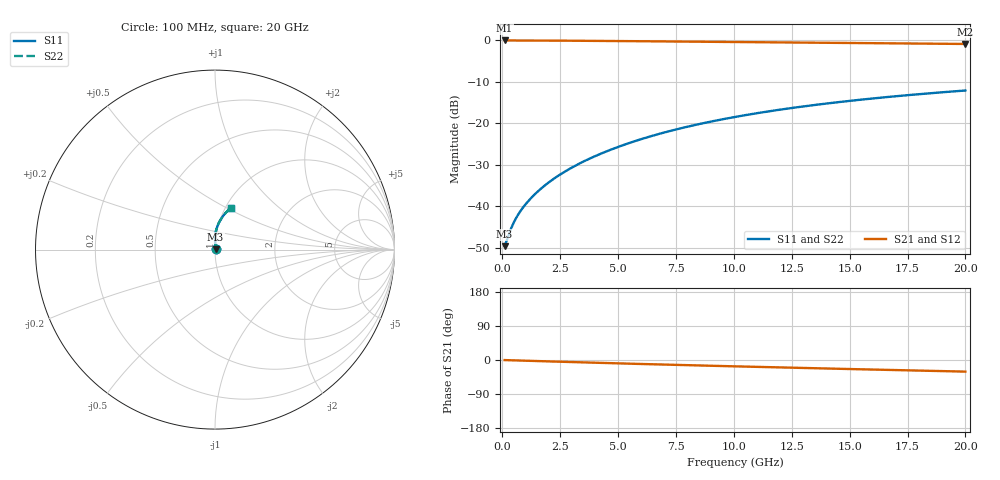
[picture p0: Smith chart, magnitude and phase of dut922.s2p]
! Touchstone file exported from HFSS 2024.1.0
!  File:  C:/UserFiles/LocalFiles/RDL_TSV_Batchsim/temp_RDL_top_922_1779936619.aedt
!  Generated:  10:53:16 AM May 28, 2026
!  Design:  RDL_top
!  Project:  temp_RDL_top_922_1779936619
!  Setup:  Setup1
!  Solution:  Sweep
! Variables:
!  dtsv = 10.80580581um
!  hbump = 3um
!  htsv = 56.77um
!  ldown = 100um
!  lrdl = 458.46um
!  p = 40
!  p1 = 44.26um
!  rhole = 1um
!  t = 450um
!  tdown = 3.915915916um
!  trdl = 2.25um
!  wdown = 15.38538539um
!  wrdl = 26.71um
# GHz S MA R 50.000000
! Terminal data exported
! Port[1] = Box2_T1
! Port[2] = Box2_T2
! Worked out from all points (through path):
!   200 points, 100 MHz to 20 GHz, reference 50 ohm
!   highest |S21| = -0.03 dB at 100 MHz (marker M1); lowest = -0.9 dB at 20 GHz (marker M2)
!   group delay of S21, straight-line fit = 4.2 ps
!   lowest |S11| = -49.7 dB at 100 MHz (marker M3), VSWR 1.01, Z = 50.3 + j0.116 ohm
!   |S11| at or under -10 dB: start of sweep to end of sweep
!   |S22| runs from -49.7 to -12.1 dB; largest |S21 - S12| = 3.2e-15
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0.1  0.003286 20.6  0.9969 -0.2  0.9969 -0.2  0.003286 20.6
! Gamma 0 0 0 0
! Port Impedance 50 0 50 0
0.3  0.004703 45.0  0.9966 -0.6  0.9966 -0.6  0.004703 45.0
0.4  0.00554 51.2  0.9964 -0.8  0.9964 -0.8  0.00554 51.2
0.5  0.006378 55.6  0.9961 -1.0  0.9961 -1.0  0.006378 55.6
0.6  0.007204 59.1  0.9959 -1.1  0.9959 -1.1  0.007204 59.1
0.7  0.008022 61.9  0.9957 -1.3  0.9957 -1.3  0.008022 61.9
0.9  0.009655 66.5  0.9953 -1.7  0.9953 -1.7  0.009655 66.5
1.2  0.01215 71.7  0.9947 -2.2  0.9947 -2.2  0.01215 71.7
1.7  0.01651 77.7  0.9936 -3.1  0.9936 -3.1  0.01651 77.7
2.2  0.02115 81.7  0.9923 -4.0  0.9923 -4.0  0.02115 81.7
2.8  0.02706 84.9  0.9903 -5.1  0.9903 -5.1  0.02706 84.9
3.5  0.03442 87.3  0.9876 -6.3  0.9876 -6.3  0.03442 87.3
4.2  0.04226 88.7  0.9846 -7.5  0.9846 -7.5  0.04226 88.7
5  0.05175 89.6  0.9808 -8.9  0.9808 -8.9  0.05175 89.5
5.9  0.063 89.7  0.9763 -10.4  0.9763 -10.4  0.06299 89.7
6.8  0.07471 89.3  0.9716 -11.8  0.9716 -11.8  0.0747 89.3
8.4  0.0963 87.8  0.9631 -14.3  0.9631 -14.3  0.09627 87.7
10.1  0.1197 85.4  0.9541 -16.8  0.9541 -16.8  0.1197 85.4
11.7  0.1417 82.8  0.9458 -19.2  0.9458 -19.2  0.1417 82.8
13.4  0.1648 80.0  0.9371 -21.6  0.9371 -21.6  0.1648 80.0
16.7  0.2079 74.5  0.9207 -26.2  0.9207 -26.2  0.2079 74.5
20  0.2482 69.2  0.9045 -30.7  0.9045 -30.7  0.2481 69.2
